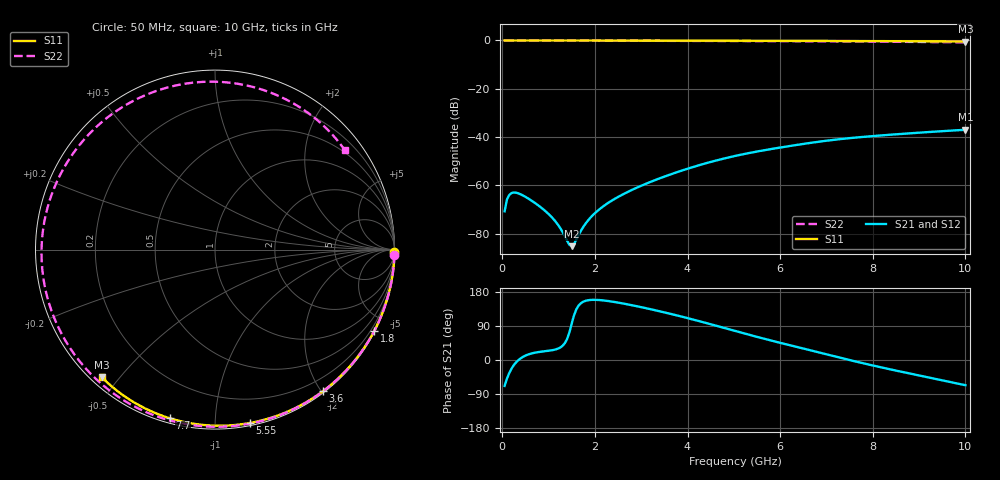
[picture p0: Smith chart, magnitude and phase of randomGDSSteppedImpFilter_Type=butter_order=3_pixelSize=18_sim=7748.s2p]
! freq	dB(S11)	phase(S11)	dB(S12)	phase(S12)
!  dB(S21)	phase(S21)	dB(S22)	phase(S22)
!S-par simulation data
#  GHz  S  DB  R 50
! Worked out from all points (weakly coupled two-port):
!   200 points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, 50 MHz to 10 GHz, reference 50 ohm
!   highest |S21| = -36.97 dB at 10 GHz (marker M1); lowest = -85.1 dB at 1.5 GHz (marker M2)
!   lowest |S11| = -0.4 dB at 10 GHz (marker M3), VSWR 39.44, Z = 1.52 - j22.5 ohm
!   |S11| at or under -10 dB: nowhere
!   |S22| runs from -0.8 to 0.0 dB; largest |S21 - S12| = 0
!   S11 on the Smith chart (normalised r, x): 50 MHz: open; 1.8 GHz: 0.04, -4.18; 3.6 GHz: 0.02, -2.02; 5.55 GHz: 0.02, -1.22; 7.7 GHz: 0.02, -0.77; 10 GHz: 0.03, -0.45
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0.05  -0.00 -0.8  -70.70 -68.4  -70.70 -68.4  -0.00 -1.7
0.1  -0.00 -1.5  -65.87 -49.5  -65.87 -49.5  -0.00 -3.3
0.15  -0.00 -2.3  -63.93 -34.4  -63.93 -34.4  -0.00 -5.0
0.35  -0.00 -5.3  -63.29 -0.1  -63.29 -0.1  -0.01 -11.5
0.95  -0.02 -14.3  -70.94 23.6  -70.94 23.6  -0.04 -31.0
1.35  -0.03 -20.3  -81.01 44.3  -81.01 44.3  -0.05 -43.8
1.5  -0.03 -22.5  -85.12 96.6  -85.12 96.6  -0.06 -48.5
1.65  -0.03 -24.7  -80.45 144.0  -80.45 144.0  -0.07 -53.1
1.75  -0.03 -26.2  -77.12 153.9  -77.12 153.9  -0.07 -56.2
1.8  -0.03 -26.9  -75.74 156.2  -75.74 156.2  -0.07 -57.8
2.05  -0.04 -30.6  -70.61 158.6  -70.61 158.6  -0.08 -65.4
2.35  -0.04 -34.9  -66.44 154.5  -66.44 154.5  -0.09 -74.4
3.4  -0.07 -49.9  -57.04 128.5  -57.04 128.5  -0.13 -104.7
3.6  -0.07 -52.6  -55.65 122.7  -55.65 122.7  -0.14 -110.3
4.3  -0.09 -62.2  -51.34 101.0  -51.34 101.0  -0.17 -129.6
5.05  -0.11 -72.2  -47.69 75.9  -47.69 75.9  -0.22 -150.1
5.55  -0.13 -78.6  -45.79 59.4  -45.79 59.4  -0.25 -163.9
6.7  -0.18 -93.0  -42.26 24.1  -42.26 24.1  -0.35 162.9
7.7  -0.24 -105.0  -40.06 -6.0  -40.06 -6.0  -0.45 130.8
8.35  -0.29 -112.6  -39.05 -24.0  -39.05 -24.0  -0.52 107.4
9.2  -0.36 -122.4  -37.90 -45.9  -37.90 -45.9  -0.64 73.2
10  -0.44 -131.5  -36.97 -66.5  -36.97 -66.5  -0.81 37.6
